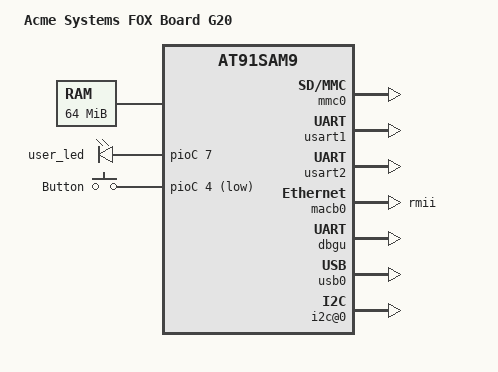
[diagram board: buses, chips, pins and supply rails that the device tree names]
/*
 * acme-foxg20.dts - Device Tree file for FOX Board G20
 *
 */
 
/dts-v1/;
#include "at91sam9g20.dtsi"

/ {
	model = "Acme Systems FOX Board G20";
	compatible = "acme,foxg20", "atmel,at91sam9g20", "atmel,at91sam9";


	aliases {
		serial0 = &dbgu;
	};

	chosen {
		stdout-path = "serial0:115200n8";
		bootargs = "mem=64M console=ttyS0,115200 root=/dev/mmcblk0p2 rootfstype=ext4 rw rootwait";
	};

	memory {
		reg = <0x20000000 0x4000000>;
	};

	clocks {
		#address-cells = <1>;
		#size-cells = <1>;
		ranges;

		main_clock: clock@0 {
			compatible = "atmel,osc", "fixed-clock";
			clock-frequency = <18432000>;
		};

		slow_xtal {
			clock-frequency = <32768>;
		};

		main_xtal {
			clock-frequency = <18432000>;
		};
	};

	ahb {
		apb {
			usb1: gadget@fffa4000 {
				atmel,vbus-gpio = <&pioC 6 GPIO_ACTIVE_HIGH>;
				status = "disabled";
			};

			mmc0: mmc@fffa8000 {
				pinctrl-0 = <
					&pinctrl_mmc0_clk
					&pinctrl_mmc0_slot1_cmd_dat0
					&pinctrl_mmc0_slot1_dat1_3>;
				status = "okay";

				slot@1 {
					reg = <1>;
					bus-width = <4>;
				};
			};

			usart0: serial@fffb0000 {
				pinctrl-0 =
					<&pinctrl_usart0
					 &pinctrl_usart0_rts
					 &pinctrl_usart0_cts
					>;
				status = "disabled";
			};

			usart1: serial@fffb4000 {
				status = "okay";
			};

			usart2: serial@fffb8000 {
				status = "okay";
			};

			usart3: serial@fffd0000 {
				status = "disabled";
			};

			uart0: serial@fffd4000 {
				status = "disabled";
			};

			uart1: serial@fffd8000 {
				status = "disabled";
			};

			macb0: ethernet@fffc4000 {
				phy-mode = "rmii";
				status = "okay";
			};


			dbgu: serial@fffff200 {
				status = "okay";
			};

			pwm {
				compatible = "atmel,tcb-pwm";
				#pwm-cells = <2>;
				tc-block = <1>;
				pinctrl-names = "default";
				pinctrl-0 = <&pinctrl_tcb0_tioa0>;
				status = "disabled";
			};

			pinctrl@fffff400 {
				board {
					pinctrl_pck0_as_mck: pck0_as_mck {
						atmel,pins =
							<AT91_PIOC 1 AT91_PERIPH_B AT91_PINCTRL_NONE>;
					};
				};

				mmc0_slot1 {
					pinctrl_board_mmc0_slot1: mmc0_slot1-board {
						atmel,pins =
							<AT91_PIOC 9 AT91_PERIPH_GPIO AT91_PINCTRL_PULL_UP_DEGLITCH>;	/* CD pin */
					};
				};

				i2c0 {
					pinctrl_i2c0: i2c0-0 {
						atmel,pins =
							<AT91_PIOA 23 AT91_PERIPH_A AT91_PINCTRL_MULTI_DRIVE	/* TWD (SDA), open drain */
							 AT91_PIOA 24 AT91_PERIPH_A AT91_PINCTRL_MULTI_DRIVE>;	/* TWCK (SCL), open drain */
					};
				};
			};

			watchdog@fffffd40 {
				status = "okay";
			};
		};

		usb0: ohci@00500000 {
			num-ports = <2>;
			status = "okay";
		};
	};

	i2c@0 {
		pinctrl-names = "default";
		pinctrl-0 = <&pinctrl_i2c0>;
		i2c-gpio,delay-us = <5>;	/* ~85 kHz */
		status = "okay";
	};

	leds {
		compatible = "gpio-leds";

		/* red LED marked "PC7" near mini USB (device) receptacle */
		user_led {
			label = "user_led";
			gpios = <&pioC 7 GPIO_ACTIVE_HIGH>;	/* PC7 */
			linux,default-trigger = "heartbeat";
		};
	};

	gpio_keys {
		compatible = "gpio-keys";

		btn {
			label = "Button";
			gpios = <&pioC 4 GPIO_ACTIVE_LOW>;
			linux,code = <0x103>;
			wakeup-source;
		};
	};
};
